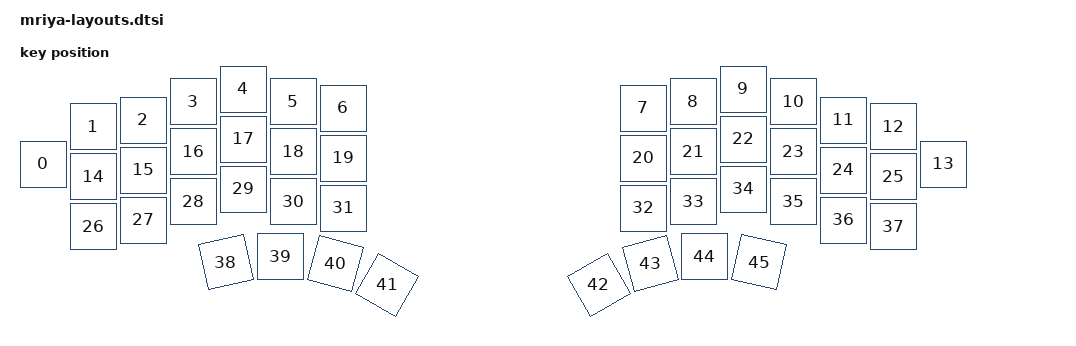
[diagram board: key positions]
/*
 * Copyright (c) 2023 Andrei Gaevskii
 *
 * SPDX-License-Identifier: MIT
 */

#include <physical_layouts.dtsi>

/ {
    mriya_layout: mriya_layout {
        compatible = "zmk,physical-layout";
        display-name = "Mriya46";

        transform = <&default_transform>;
        kscan = <&kscan0>;

        keys  //                     w   h     x     y     rot    rx    ry
            = <&key_physical_attrs 100 100     0   250       0     0     0>
            , <&key_physical_attrs 100 100   100   175       0     0     0>
            , <&key_physical_attrs 100 100   200   162       0     0     0>
            , <&key_physical_attrs 100 100   300   125       0     0     0>
            , <&key_physical_attrs 100 100   400   100       0     0     0>
            , <&key_physical_attrs 100 100   500   125       0     0     0>
            , <&key_physical_attrs 100 100   600   138       0     0     0>
            , <&key_physical_attrs 100 100  1200   138       0     0     0>
            , <&key_physical_attrs 100 100  1300   125       0     0     0>
            , <&key_physical_attrs 100 100  1400   100       0     0     0>
            , <&key_physical_attrs 100 100  1500   125       0     0     0>
            , <&key_physical_attrs 100 100  1600   162       0     0     0>
            , <&key_physical_attrs 100 100  1700   175       0     0     0>
            , <&key_physical_attrs 100 100  1800   250       0     0     0>
            , <&key_physical_attrs 100 100   100   275       0     0     0>
            , <&key_physical_attrs 100 100   200   262       0     0     0>
            , <&key_physical_attrs 100 100   300   225       0     0     0>
            , <&key_physical_attrs 100 100   400   200       0     0     0>
            , <&key_physical_attrs 100 100   500   225       0     0     0>
            , <&key_physical_attrs 100 100   600   238       0     0     0>
            , <&key_physical_attrs 100 100  1200   238       0     0     0>
            , <&key_physical_attrs 100 100  1300   225       0     0     0>
            , <&key_physical_attrs 100 100  1400   200       0     0     0>
            , <&key_physical_attrs 100 100  1500   225       0     0     0>
            , <&key_physical_attrs 100 100  1600   262       0     0     0>
            , <&key_physical_attrs 100 100  1700   275       0     0     0>
            , <&key_physical_attrs 100 100   100   375       0     0     0>
            , <&key_physical_attrs 100 100   200   362       0     0     0>
            , <&key_physical_attrs 100 100   300   325       0     0     0>
            , <&key_physical_attrs 100 100   400   300       0     0     0>
            , <&key_physical_attrs 100 100   500   325       0     0     0>
            , <&key_physical_attrs 100 100   600   338       0     0     0>
            , <&key_physical_attrs 100 100  1200   338       0     0     0>
            , <&key_physical_attrs 100 100  1300   325       0     0     0>
            , <&key_physical_attrs 100 100  1400   300       0     0     0>
            , <&key_physical_attrs 100 100  1500   325       0     0     0>
            , <&key_physical_attrs 100 100  1600   362       0     0     0>
            , <&key_physical_attrs 100 100  1700   375       0     0     0>
            , <&key_physical_attrs 100 100   375   435 (-1200)   475   535>
            , <&key_physical_attrs 100 100   475   435       0     0     0>
            , <&key_physical_attrs 100 100   600   438    1500   600   438>
            , <&key_physical_attrs 100 100   670   460    3000   670   560>
            , <&key_physical_attrs 100 100  1130   460 (-3000)  1230   560>
            , <&key_physical_attrs 100 100  1200   438 (-1500)  1300   438>
            , <&key_physical_attrs 100 100  1323   435       0     0     0>
            , <&key_physical_attrs 100 100  1423   435    1200  1423   535>
            ;
    };
};
